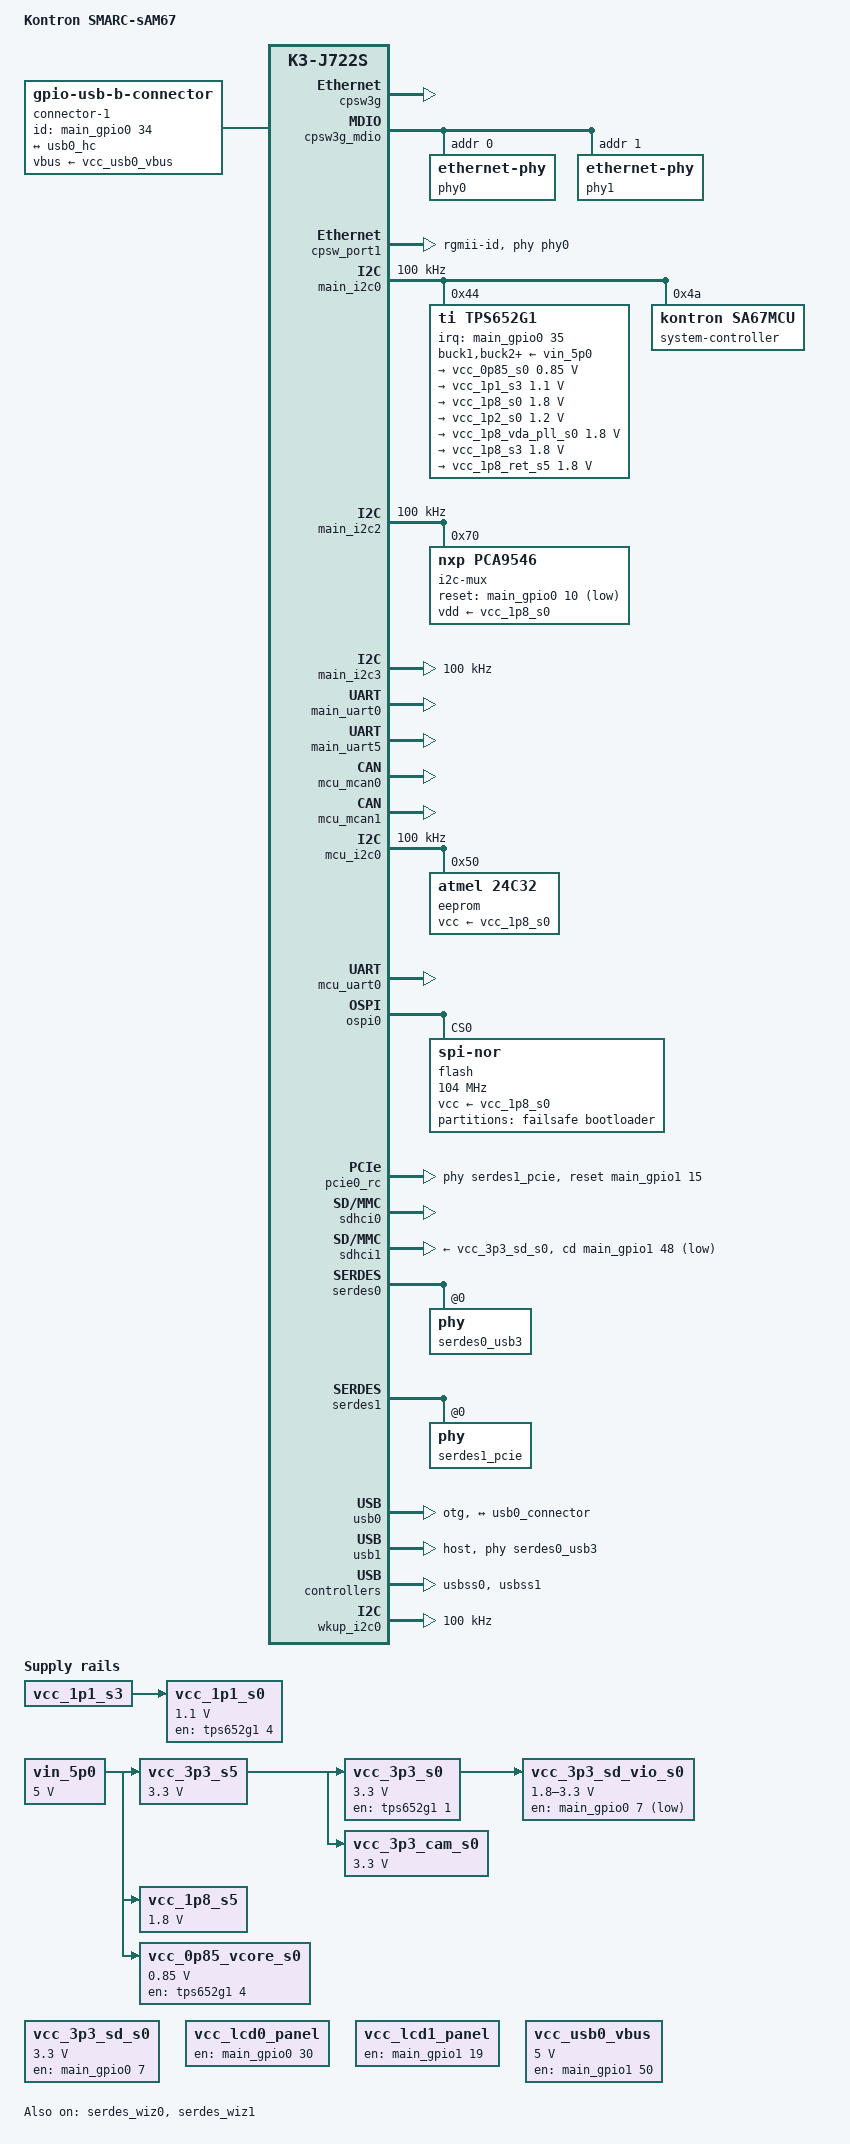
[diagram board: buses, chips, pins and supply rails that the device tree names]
// SPDX-License-Identifier: GPL-2.0-only OR MIT
/*
 * Kontron SMARC-sAM67 module
 *
 * Copyright (c) 2025 Kontron Europe GmbH
 */

/dts-v1/;

#include <dt-bindings/gpio/gpio.h>
#include <dt-bindings/interrupt-controller/irq.h>
#include <dt-bindings/phy/phy.h>
#include "k3-j722s.dtsi"
#include "k3-serdes.h"

/ {
	compatible = "kontron,sa67", "ti,j722s";
	model = "Kontron SMARC-sAM67";

	aliases {
		serial0 = &mcu_uart0;
		serial1 = &main_uart0;
		serial2 = &main_uart5;
		serial3 = &wkup_uart0;
		mmc0 = &sdhci0;
		mmc1 = &sdhci1;
		rtc0 = &wkup_rtc0;
	};

	lcd0_backlight: backlight-1 {
		compatible = "pwm-backlight";
		pinctrl-names = "default";
		pinctrl-0 = <&lcd0_backlight_pins_default>;
		pwms = <&epwm1 0 50000 0>;
		brightness-levels = <0 32 64 96 128 160 192 224 255>;
		default-brightness-level = <8>;
		enable-gpios = <&main_gpio0 29 GPIO_ACTIVE_HIGH>;
		status = "disabled";
	};

	lcd1_backlight: backlight-2 {
		compatible = "pwm-backlight";
		pinctrl-names = "default";
		pinctrl-0 = <&lcd1_backlight_pins_default>;
		pwms = <&epwm1 1 50000 0>;
		brightness-levels = <0 32 64 96 128 160 192 224 255>;
		default-brightness-level = <8>;
		enable-gpios = <&main_gpio1 18 GPIO_ACTIVE_HIGH>;
		status = "disabled";
	};

	chosen {
		stdout-path = "serial1:115200n8";
	};

	connector-1 {
		compatible = "gpio-usb-b-connector", "usb-b-connector";
		pinctrl-names = "default";
		pinctrl-0 = <&usb0_connector_pins_default>;
		type = "micro";
		id-gpios = <&main_gpio0 34 GPIO_ACTIVE_HIGH>;
		vbus-supply = <&vcc_usb0_vbus>;

		port  {
			usb0_connector: endpoint {
				remote-endpoint = <&usb0_hc>;
			};
		};

	};

	memory@80000000 {
		/* Filled in by bootloader */
		reg = <0x00000000 0x00000000 0x00000000 0x00000000>,
		      <0x00000000 0x00000000 0x00000000 0x00000000>;
		device_type = "memory";
		bootph-pre-ram;
	};

	reserved_memory: reserved-memory {
		#address-cells = <2>;
		#size-cells = <2>;
		ranges;

		linux,cma {
			compatible = "shared-dma-pool";
			reusable;
			size = <0x10000000>;
			alignment = <0x2000>;
			linux,cma-default;
		};

		secure_tfa_ddr: tfa@9e780000 {
			reg = <0x00 0x9e780000 0x00 0x80000>;
			no-map;
		};

		secure_ddr: optee@9e800000 {
			reg = <0x00 0x9e800000 0x00 0x01800000>;
			no-map;
		};

		wkup_r5fss0_core0_memory_region: r5f-memory@a0100000 {
			compatible = "shared-dma-pool";
			reg = <0x00 0xa0100000 0x00 0xf00000>;
			no-map;
		};
	};

	vin_5p0: regulator-1 {
		compatible = "regulator-fixed";
		regulator-name = "V_3V0_5V25_IN";
		regulator-min-microvolt = <5000000>;
		regulator-max-microvolt = <5000000>;
		regulator-always-on;
		regulator-boot-on;
		bootph-all;
	};

	vcc_3p3_s5: regulator-2 {
		compatible = "regulator-fixed";
		regulator-name = "V_3V3_S5";
		regulator-min-microvolt = <3300000>;
		regulator-max-microvolt = <3300000>;
		vin-supply = <&vin_5p0>;
		regulator-always-on;
		regulator-boot-on;
		bootph-all;
	};

	vcc_1p8_s5: regulator-3 {
		compatible = "regulator-fixed";
		regulator-name = "V_1V8_S5";
		regulator-min-microvolt = <1800000>;
		regulator-max-microvolt = <1800000>;
		vin-supply = <&vin_5p0>;
		regulator-always-on;
		regulator-boot-on;
		bootph-all;
	};

	vcc_3p3_s0: regulator-4 {
		compatible = "regulator-fixed";
		regulator-name = "V_3V3_S0";
		regulator-min-microvolt = <3300000>;
		regulator-max-microvolt = <3300000>;
		vin-supply = <&vcc_3p3_s5>;
		regulator-always-on;
		regulator-boot-on;
		enable-active-high;
		gpios = <&tps652g1 1 GPIO_ACTIVE_HIGH>;
		bootph-all;
	};

	vcc_3p3_sd_s0: regulator-5 {
		compatible = "regulator-fixed";
		regulator-name = "SDIO_PWR_EN";
		pinctrl-names = "default";
		pinctrl-0 = <&vcc_3p3_sd_s0_pins_default>;
		regulator-min-microvolt = <3300000>;
		regulator-max-microvolt = <3300000>;
		regulator-boot-on;
		enable-active-high;
		gpios = <&main_gpio0 7 GPIO_ACTIVE_HIGH>;
		bootph-all;
	};

	vcc_3p3_sd_vio_s0: regulator-6 {
		compatible = "regulator-gpio";
		regulator-name = "V_3V3_1V8_SD_S0";
		pinctrl-names = "default";
		pinctrl-0 = <&vcc_3p3_sd_vio_s0_pins_default>;
		regulator-min-microvolt = <1800000>;
		regulator-max-microvolt = <3300000>;
		vin-supply = <&vcc_3p3_s0>;
		regulator-boot-on;
		enable-gpios = <&main_gpio0 7 GPIO_ACTIVE_HIGH>;
		gpios = <&main_gpio0 8 GPIO_ACTIVE_HIGH>;
		states = <3300000 0x0>,
			 <1800000 0x1>;
		bootph-all;
	};

	vcc_3p3_cam_s0: regulator-7 {
		compatible = "regulator-fixed";
		regulator-name = "V_3V3_CAM_S0";
		pinctrl-names = "default";
		pinctrl-0 = <&vcc_3p3_cam_s0_pins_default>;
		regulator-min-microvolt = <3300000>;
		regulator-max-microvolt = <3300000>;
		vin-supply = <&vcc_3p3_s5>;
		enable-active-high;
		interrupts-extended = <&main_gpio1 30 IRQ_TYPE_EDGE_FALLING>;
		bootph-all;
	};

	vcc_1p1_s0: regulator-8 {
		compatible = "regulator-fixed";
		regulator-name = "V_1V1_S0";
		regulator-min-microvolt = <1100000>;
		regulator-max-microvolt = <1100000>;
		vin-supply = <&vcc_1p1_s3>;
		regulator-always-on;
		regulator-boot-on;
		enable-active-high;
		/* shared with V_0V75_0V85_CORE_S0 */
		gpios = <&tps652g1 4 GPIO_ACTIVE_HIGH>;
		bootph-all;
	};

	vcc_0p85_vcore_s0: regulator-9 {
		compatible = "regulator-fixed";
		regulator-name = "V_0V75_0V85_CORE_S0";
		regulator-min-microvolt = <850000>;
		regulator-max-microvolt = <850000>;
		vin-supply = <&vin_5p0>;
		regulator-always-on;
		regulator-boot-on;
		enable-active-high;
		gpios = <&tps652g1 4 GPIO_ACTIVE_HIGH>;
		bootph-all;
	};

	vcc_lcd0_panel: regulator-10 {
		compatible = "regulator-fixed";
		regulator-name = "LCD0_VDD_EN";
		pinctrl-names = "default";
		pinctrl-0 = <&vcc_lcd0_panel_pins_default>;
		enable-active-high;
		gpios = <&main_gpio0 30 GPIO_ACTIVE_HIGH>;
	};

	vcc_lcd1_panel: regulator-11 {
		compatible = "regulator-fixed";
		regulator-name = "LCD1_VDD_EN";
		pinctrl-names = "default";
		pinctrl-0 = <&vcc_lcd1_panel_pins_default>;
		enable-active-high;
		gpios = <&main_gpio1 19 GPIO_ACTIVE_HIGH>;
	};

	vcc_usb0_vbus: regulator-12 {
		compatible = "regulator-fixed";
		regulator-name = "USB0_EN_OC#";
		pinctrl-names = "default";
		pinctrl-0 = <&vcc_usb0_vbus_pins_default>;
		regulator-min-microvolt = <5000000>;
		regulator-max-microvolt = <5000000>;
		enable-active-high;
		gpios = <&main_gpio1 50 GPIO_ACTIVE_HIGH>;
	};
};

&audio_refclk0 {
	pinctrl-names = "default";
	pinctrl-0 = <&audio_refclk0_pins_default>;
	status = "disabled";
};

&audio_refclk1 {
	pinctrl-names = "default";
	pinctrl-0 = <&audio_refclk1_pins_default>;
	status = "disabled";
};

&cpsw3g {
	pinctrl-names = "default";
	pinctrl-0 = <&cpsw3g_pins_default>, <&rgmii1_pins_default>,
		    <&rgmii2_pins_default>;
	status = "okay";
};

&cpsw3g_mdio {
	pinctrl-names = "default";
	pinctrl-0 = <&cpsw3g_mdio_pins_default>;
	status = "okay";

	phy0: ethernet-phy@0 {
		reg = <0>;
	};

	phy1: ethernet-phy@1 {
		reg = <1>;
	};
};

&cpsw_port1 {
	phy-connection-type = "rgmii-id";
	phy-handle = <&phy0>;
	nvmem-cells = <&base_mac_address 0>;
	nvmem-cell-names = "mac-address";
	status = "okay";
};

&main_gpio0 {
	gpio-line-names =
		"", "", "", "", "", "", "", "SOC_SDIO_PWR_EN", "VSD_SEL",
		"RESET_OUT#", "I2C_MUX_RST#", "SPI_FLASH_CS#", "QPSI_CS0#",
		"QSPI_CS1#", "BOOT_SEL1", "BRDCFG0", "BRDCFG1", "BRDCFG2",
		"BRDCFG3", "BRDCFG4", "", "BRDREV0", "BRDREV1", "", "", "", "",
		"", "", "LCD0_BKLT_EN", "LCD0_VDD_EN", "GBE_INT#", "DSI0_TE",
		"CHARGING#", "USB0_OTG_ID", "PMIC_INT#", "RTC_INT#",
		"EDP_BRIDGE_EN", "EDP_BRIDGE_IRQ#", "", "CHARGER_PRSNT#", "",
		"", "", "", "BOOT_SEL2#", "CAM2_RST#", "CAM2_PWR#", "",
		"CAM3_RST#", "CAM3_PWR#", "GPIO0", "GPIO1", "", "", "", "", "",
		"", "", "", "", "", "", "", "", "", "", "", "GPIO10", "GPIO11",
		"SLEEP#", "LID#";

	bootph-all;
	status = "okay";
};

&main_gpio1 {
	gpio-line-names =
		"", "", "", "", "", "", "", "GPIO6", "GPIO7", "", "", "", "",
		"GPIO8", "GPIO9", "PCIE_A_RST#", "", "BATLOW#", "LCD1_BKLT_EN",
		"LCD1_VDD_EN", "", "", "", "", "GPIO2", "GPIO3", "", "",
		"GPIO4", "GPIO5", "CAM_S0_FAULT#", "BOOT_SEL0#", "", "", "", "",
		"", "", "", "", "", "", "", "", "", "", "", "", "SDIO_CD#", "",
		"USB0_DRVVBUS", "USB1_DRVVBUS";

	bootph-all;
	status = "okay";
};

/* I2C_LOCAL */
&main_i2c0 {
	pinctrl-names = "default";
	pinctrl-0 = <&main_i2c0_pins_default>;
	clock-frequency = <100000>;
	bootph-all;
	status = "okay";

	tps652g1: pmic@44 {
		compatible = "ti,tps652g1";
		reg = <0x44>;
		ti,primary-pmic;
		system-power-controller;

		gpio-controller;
		#gpio-cells = <2>;
		gpio-line-names =
			"LPM_EN#", "EN_3V3_S0", "POWER_BTN#", "CARRIER_STBY#",
			"EN_0V75_0V85_VCORE_S0", "PMIC_WAKEUP";

		pinctrl-names = "default";
		pinctrl-0 = <&pmic_irq_pins_default>;
		interrupts-extended = <&main_gpio0 35 IRQ_TYPE_EDGE_FALLING>;

		buck1-supply = <&vin_5p0>;
		buck2-supply = <&vin_5p0>;
		buck3-supply = <&vin_5p0>;
		buck4-supply = <&vin_5p0>;
		ldo1-supply = <&vin_5p0>;
		ldo2-supply = <&vin_5p0>;
		ldo3-supply = <&vin_5p0>;

		bootph-all;

		regulators {
			vcc_0p85_s0: buck1 {
				regulator-name = "V_0V85_S0";
				regulator-min-microvolt = <850000>;
				regulator-max-microvolt = <850000>;
				regulator-boot-on;
				regulator-always-on;
			};

			vcc_1p1_s3: buck2 {
				regulator-name = "V_1V1_S3";
				regulator-min-microvolt = <1100000>;
				regulator-max-microvolt = <1100000>;
				regulator-boot-on;
				regulator-always-on;
			};

			vcc_1p8_s0: buck3 {
				regulator-name = "V_1V8_S0";
				regulator-min-microvolt = <1800000>;
				regulator-max-microvolt = <1800000>;
				regulator-boot-on;
				regulator-always-on;
			};

			vcc_1p2_s0: buck4 {
				regulator-name = "V_1V2_S0";
				regulator-min-microvolt = <1200000>;
				regulator-max-microvolt = <1200000>;
				regulator-boot-on;
				regulator-always-on;
			};

			vcc_1p8_vda_pll_s0: ldo1 {
				regulator-name = "V_1V8_VDA_PLL_S0";
				regulator-min-microvolt = <1800000>;
				regulator-max-microvolt = <1800000>;
				regulator-boot-on;
				regulator-always-on;
			};

			vcc_1p8_s3: ldo2 {
				regulator-name = "V_1V8_S3";
				regulator-min-microvolt = <1800000>;
				regulator-max-microvolt = <1800000>;
				regulator-boot-on;
				regulator-always-on;
			};

			vcc_1p8_ret_s5: ldo3 {
				regulator-name = "V_1V8_RET_S5";
				regulator-min-microvolt = <1800000>;
				regulator-max-microvolt = <1800000>;
				regulator-boot-on;
				regulator-always-on;
			};
		};
	};

	system-controller@4a {
		compatible = "kontron,sa67mcu", "kontron,sl28cpld";
		reg = <0x4a>;
		#address-cells = <1>;
		#size-cells = <0>;

		watchdog@4 {
			compatible = "kontron,sa67mcu-wdt", "kontron,sl28cpld-wdt";
			reg = <0x4>;
			kontron,assert-wdt-timeout-pin;
		};

		hwmon@8 {
			compatible = "kontron,sa67mcu-hwmon";
			reg = <0x8>;
		};
	};
};

/* I2C_CAM */
&main_i2c2 {
	pinctrl-names = "default";
	pinctrl-0 = <&main_i2c2_pins_default>;
	clock-frequency = <100000>;
	status = "okay";

	i2c-mux@70 {
		compatible = "nxp,pca9546";
		reg = <0x70>;
		#address-cells = <1>;
		#size-cells = <0>;

		pinctrl-names = "default";
		pinctrl-0 = <&i2c_mux_pins_default>;

		vdd-supply = <&vcc_1p8_s0>;
		reset-gpios = <&main_gpio0 10 GPIO_ACTIVE_LOW>;

		i2c_cam0: i2c@0 {
			#address-cells = <1>;
			#size-cells = <0>;
			reg = <0>;
		};

		i2c_cam1: i2c@1 {
			#address-cells = <1>;
			#size-cells = <0>;
			reg = <1>;
		};

		i2c_cam2: i2c@2 {
			#address-cells = <1>;
			#size-cells = <0>;
			reg = <2>;
		};

		i2c_cam3: i2c@3 {
			#address-cells = <1>;
			#size-cells = <0>;
			reg = <3>;
		};
	};
};

/* I2C_LCD */
&main_i2c3 {
	pinctrl-names = "default";
	pinctrl-0 = <&main_i2c3_pins_default>;
	clock-frequency = <100000>;
	status = "okay";
};

&main_pmx0 {
	audio_refclk0_pins_default: audio-refclk0-default-pins {
		pinctrl-single,pins = <
			J722S_IOPAD(0x0c4, PIN_OUTPUT, 5)	/* (W23) VOUT0_DATA3.AUDIO_EXT_REFCLK0 */
		>;
	};

	audio_refclk1_pins_default: audio-refclk1-default-pins {
		pinctrl-single,pins = <
			J722S_IOPAD(0x0a0, PIN_OUTPUT, 1)	/* (N24) GPMC0_WPn.AUDIO_EXT_REFCLK1 */
		>;
	};

	cpsw3g_mdio_pins_default: cpsw3g-mdio-default-pins {
		pinctrl-single,pins = <
			J722S_IOPAD(0x160, PIN_OUTPUT, 0)	/* (AC24) MDIO0_MDC */
			J722S_IOPAD(0x15c, PIN_INPUT, 0)	/* (AD25) MDIO0_MDIO */
		>;
	};

	cpsw3g_pins_default: cpsw3g-default-pins {
		pinctrl-single,pins = <
			J722S_IOPAD(0x1b8, PIN_OUTPUT, 1)	/* (C20) SPI0_CS1.CP_GEMAC_CPTS0_TS_COMP */
		>;
	};

	edp_bridge_pins_default: edp-bridge-default-pins {
		pinctrl-single,pins = <
			J722S_IOPAD(0x098, PIN_OUTPUT, 7)	/* (V21) GPMC0_WAIT0.GPIO0_37 */
			J722S_IOPAD(0x09c, PIN_INPUT, 7)	/* (W26) GPMC0_WAIT1.GPIO0_38 */
		>;
	};

	i2c_mux_pins_default: i2c-mux-default-pins {
		pinctrl-single,pins = <
			J722S_IOPAD(0x028, PIN_OUTPUT, 7)	/* (M27) OSPI0_D7.GPIO0_10 */
		>;
	};

	lcd0_backlight_pins_default: lcd0-backlight-default-pins {
		pinctrl-single,pins = <
			J722S_IOPAD(0x074, PIN_OUTPUT, 7)	/* (V22) GPMC0_AD14.GPIO0_29 */
			J722S_IOPAD(0x110, PIN_OUTPUT, 4)	/* (G27) MMC2_DAT1.EHRPWM1_A */
		>;
	};

	lcd1_backlight_pins_default: lcd1-backlight-default-pins {
		pinctrl-single,pins = <
			J722S_IOPAD(0x1c0, PIN_OUTPUT, 7)	/* (E19) SPI0_D0.GPIO1_18 */
			J722S_IOPAD(0x114, PIN_OUTPUT, 4)	/* (G26) MMC2_DAT0.EHRPWM1_B */
		>;
	};

	main_i2c0_pins_default: main-i2c0-default-pins {
		pinctrl-single,pins = <
			J722S_IOPAD(0x1e0, PIN_INPUT, 0)	/* (D23) I2C0_SCL */
			J722S_IOPAD(0x1e4, PIN_INPUT, 0)	/* (B22) I2C0_SDA */
		>;
		bootph-all;
	};

	main_i2c2_pins_default: main-i2c2-default-pins {
		pinctrl-single,pins = <
			J722S_IOPAD(0x0b0, PIN_INPUT, 1)	/* (P22) GPMC0_CSn2.I2C2_SCL */
			J722S_IOPAD(0x0b4, PIN_INPUT, 1)	/* (P23) GPMC0_CSn3.I2C2_SDA */
		>;
	};

	main_i2c3_pins_default: main-i2c3-default-pins {
		pinctrl-single,pins = <
			J722S_IOPAD(0x1d0, PIN_INPUT, 2)	/* (E22) UART0_CTSn.I2C3_SCL */
			J722S_IOPAD(0x1d4, PIN_INPUT, 2)	/* (B21) UART0_RTSn.I2C3_SDA */
		>;
	};

	main_i2c4_pins_default: main-i2c4-default-pins {
		pinctrl-single,pins = <
			J722S_IOPAD(0x0a8, PIN_INPUT, 1)	/* (R27) GPMC0_CSn0.I2C4_SCL */
			J722S_IOPAD(0x0ac, PIN_INPUT, 1)	/* (P21) GPMC0_CSn1.I2C4_SDA */
		>;
	};

	main_uart0_pins_default: main-uart0-default-pins {
		pinctrl-single,pins = <
			J722S_IOPAD(0x1c8, PIN_INPUT, 0)	/* (F19) UART0_RXD */
			J722S_IOPAD(0x1cc, PIN_OUTPUT, 0)	/* (F20) UART0_TXD */
		>;
		bootph-all;
	};

	main_uart5_pins_default: main-uart5-default-pins {
		pinctrl-single,pins = <
			J722S_IOPAD(0x108, PIN_INPUT, 3)	/* (J27) MMC2_DAT3.UART5_RXD */
			J722S_IOPAD(0x10c, PIN_OUTPUT, 3)	/* (H27) MMC2_DAT2.UART5_TXD */
			J722S_IOPAD(0x008, PIN_INPUT, 5)	/* (L22) OSPI0_DQS.UART5_CTSn */
			J722S_IOPAD(0x004, PIN_OUTPUT, 5)	/* (L23) OSPI0_LBCLKO.UART5_RTSn */
		>;
	};

	mcasp0_pins_default: mcasp0-default-pins {
		pinctrl-single,pins = <
			J722S_IOPAD(0x1a4, PIN_INPUT, 0)	/* (D25) MCASP0_ACLKX */
			J722S_IOPAD(0x1a8, PIN_INPUT, 0)	/* (C26) MCASP0_AFSX */
			J722S_IOPAD(0x1a0, PIN_INPUT, 0)	/* (F23) MCASP0_AXR0 */
			J722S_IOPAD(0x19c, PIN_OUTPUT, 0)	/* (B25) MCASP0_AXR1 */
		>;
	};

	mcasp2_pins_default: mcasp2-default-pins {
		pinctrl-single,pins = <
			J722S_IOPAD(0x070, PIN_INPUT, 3)	/* (V24) GPMC0_AD13.MCASP2_ACLKX */
			J722S_IOPAD(0x06c, PIN_INPUT, 3)	/* (V26) GPMC0_AD12.MCASP2_AFSX */
			J722S_IOPAD(0x05c, PIN_INPUT, 3)	/* (U27) GPMC0_AD8.MCASP2_AXR0 */
			J722S_IOPAD(0x060, PIN_OUTPUT, 3)	/* (U26) GPMC0_AD9.MCASP2_AXR1 */
		>;
	};

	oldi0_pins_default: oldi0-default-pins {
		pinctrl-single,pins = <
			J722S_IOPAD(0x260, PIN_OUTPUT, 0)	/* (AF23) OLDI0_A0N */
			J722S_IOPAD(0x25c, PIN_OUTPUT, 0)	/* (AG24) OLDI0_A0P */
			J722S_IOPAD(0x268, PIN_OUTPUT, 0)	/* (AG22) OLDI0_A1N */
			J722S_IOPAD(0x264, PIN_OUTPUT, 0)	/* (AG23) OLDI0_A1P */
			J722S_IOPAD(0x270, PIN_OUTPUT, 0)	/* (AB20) OLDI0_A2N */
			J722S_IOPAD(0x26c, PIN_OUTPUT, 0)	/* (AB21) OLDI0_A2P */
			J722S_IOPAD(0x278, PIN_OUTPUT, 0)	/* (AG20) OLDI0_A3N */
			J722S_IOPAD(0x274, PIN_OUTPUT, 0)	/* (AG21) OLDI0_A3P */
			J722S_IOPAD(0x2a0, PIN_OUTPUT, 0)	/* (AF21) OLDI0_CLK0N */
			J722S_IOPAD(0x29c, PIN_OUTPUT, 0)	/* (AE20) OLDI0_CLK0P */
		>;
	};

	oldi1_pins_default: oldi1-default-pins {
		pinctrl-single,pins = <
			J722S_IOPAD(0x280, PIN_OUTPUT, 0)	/* (AD21) OLDI0_A4N */
			J722S_IOPAD(0x27c, PIN_OUTPUT, 0)	/* (AC21) OLDI0_A4P */
			J722S_IOPAD(0x288, PIN_OUTPUT, 0)	/* (AF19) OLDI0_A5N */
			J722S_IOPAD(0x284, PIN_OUTPUT, 0)	/* (AF18) OLDI0_A5P */
			J722S_IOPAD(0x290, PIN_OUTPUT, 0)	/* (AG17) OLDI0_A6N */
			J722S_IOPAD(0x28c, PIN_OUTPUT, 0)	/* (AG18) OLDI0_A6P */
			J722S_IOPAD(0x298, PIN_OUTPUT, 0)	/* (AB19) OLDI0_A7N */
			J722S_IOPAD(0x294, PIN_OUTPUT, 0)	/* (AA20) OLDI0_A7P */
			J722S_IOPAD(0x2a8, PIN_OUTPUT, 0)	/* (AD20) OLDI0_CLK1N */
			J722S_IOPAD(0x2a4, PIN_OUTPUT, 0)	/* (AE19) OLDI0_CLK1P */
		>;
	};

	ospi0_pins_default: ospi0-default-pins {
		pinctrl-single,pins = <
			J722S_IOPAD(0x000, PIN_OUTPUT, 0)	/* (L24) OSPI0_CLK */
			J722S_IOPAD(0x02c, PIN_OUTPUT, 0)	/* (K26) OSPI0_CSn0 */
			J722S_IOPAD(0x030, PIN_OUTPUT, 0)	/* (K23) OSPI0_CSn1 */
			J722S_IOPAD(0x034, PIN_OUTPUT, 0)	/* (K22) OSPI0_CSn2 */
			J722S_IOPAD(0x00c, PIN_INPUT, 0)	/* (K27) OSPI0_D0 */
			J722S_IOPAD(0x010, PIN_INPUT, 0)	/* (L27) OSPI0_D1 */
			J722S_IOPAD(0x014, PIN_INPUT, 0)	/* (L26) OSPI0_D2 */
			J722S_IOPAD(0x018, PIN_INPUT, 0)	/* (L25) OSPI0_D3 */
		>;
		bootph-all;
	};

	pcie0_rc_pins_default: pcie0-rc-default-pins {
		pinctrl-single,pins = <
			J722S_IOPAD(0x2ac, PIN_OUTPUT, 0)	/* (F25) PCIE0_CLKREQn */
			J722S_IOPAD(0x1b4, PIN_OUTPUT, 7)	/* (B20) SPI0_CS0.GPIO1_15 */
		>;
	};

	pmic_irq_pins_default: pmic-irq-default-pins {
		pinctrl-single,pins = <
			J722S_IOPAD(0x090, PIN_INPUT, 7)	/* (P27) GPMC0_BE0n_CLE.GPIO0_35 */
		>;
	};

	rgmii1_pins_default: rgmii1-default-pins {
		pinctrl-single,pins = <
			J722S_IOPAD(0x14c, PIN_INPUT, 0)	/* (AC25) RGMII1_RD0 */
			J722S_IOPAD(0x150, PIN_INPUT, 0)	/* (AD27) RGMII1_RD1 */
			J722S_IOPAD(0x154, PIN_INPUT, 0)	/* (AE24) RGMII1_RD2 */
			J722S_IOPAD(0x158, PIN_INPUT, 0)	/* (AE26) RGMII1_RD3 */
			J722S_IOPAD(0x148, PIN_INPUT, 0)	/* (AE27) RGMII1_RXC */
			J722S_IOPAD(0x144, PIN_INPUT, 0)	/* (AD23) RGMII1_RX_CTL */
			J722S_IOPAD(0x134, PIN_OUTPUT, 0)	/* (AF27) RGMII1_TD0 */
			J722S_IOPAD(0x138, PIN_OUTPUT, 0)	/* (AE23) RGMII1_TD1 */
			J722S_IOPAD(0x13c, PIN_OUTPUT, 0)	/* (AG25) RGMII1_TD2 */
			J722S_IOPAD(0x140, PIN_OUTPUT, 0)	/* (AF24) RGMII1_TD3 */
			J722S_IOPAD(0x130, PIN_OUTPUT, 0)	/* (AG26) RGMII1_TXC */
			J722S_IOPAD(0x12c, PIN_OUTPUT, 0)	/* (AF25) RGMII1_TX_CTL */
		>;
	};

	rgmii2_pins_default: rgmii2-default-pins {
		pinctrl-single,pins = <
			J722S_IOPAD(0x0f8, PIN_INPUT, 2)	/* (AB24) VOUT0_HSYNC.RGMII2_RD0 */
			J722S_IOPAD(0x0fc, PIN_INPUT, 2)	/* (AC27) VOUT0_DE.RGMII2_RD1 */
			J722S_IOPAD(0x100, PIN_INPUT, 2)	/* (AB23) VOUT0_VSYNC.RGMII2_RD2 */
			J722S_IOPAD(0x104, PIN_INPUT, 2)	/* (AC26) VOUT0_PCLK.RGMII2_RD3 */
			J722S_IOPAD(0x0f4, PIN_INPUT, 2)	/* (AB27) VOUT0_DATA15.RGMII2_RXC */
			J722S_IOPAD(0x0f0, PIN_INPUT, 2)	/* (AB26) VOUT0_DATA14.RGMII2_RX_CTL */
			J722S_IOPAD(0x0e0, PIN_OUTPUT, 2)	/* (AA25) VOUT0_DATA10.RGMII2_TD0 */
			J722S_IOPAD(0x0e4, PIN_OUTPUT, 2)	/* (AB25) VOUT0_DATA11.RGMII2_TD1 */
			J722S_IOPAD(0x0e8, PIN_OUTPUT, 2)	/* (AA23) VOUT0_DATA12.RGMII2_TD2 */
			J722S_IOPAD(0x0ec, PIN_OUTPUT, 2)	/* (AA22) VOUT0_DATA13.RGMII2_TD3 */
			J722S_IOPAD(0x0dc, PIN_OUTPUT, 2)	/* (AA27) VOUT0_DATA9.RGMII2_TXC */
			J722S_IOPAD(0x0d8, PIN_OUTPUT, 2)	/* (AA24) VOUT0_DATA8.RGMII2_TX_CTL */
		>;
	};

	rtc_pins_default: rtc-default-pins {
		pinctrl-single,pins = <
			J722S_IOPAD(0x094, PIN_INPUT, 7)	/* (P26) GPMC0_BE1n.GPIO0_36 */
		>;
	};

	sdhci1_pins_default: sdhci1-default-pins {
		pinctrl-single,pins = <
			J722S_IOPAD(0x23c, PIN_INPUT, 0)	/* (H22) MMC1_CMD */
			J722S_IOPAD(0x234, PIN_OUTPUT, 0)	/* (H24) MMC1_CLK */
			J722S_IOPAD(0x230, PIN_INPUT, 0)	/* (H23) MMC1_DAT0 */
			J722S_IOPAD(0x22c, PIN_INPUT, 0)	/* (H20) MMC1_DAT1 */
			J722S_IOPAD(0x228, PIN_INPUT, 0)	/* (J23) MMC1_DAT2 */
			J722S_IOPAD(0x224, PIN_INPUT, 0)	/* (H25) MMC1_DAT3 */
			J722S_IOPAD(0x240, PIN_INPUT, 0)	/* (B24) MMC1_SDCD */
			J722S_IOPAD(0x244, PIN_INPUT, 0)	/* (A24) MMC1_SDWP */
		>;
		bootph-all;
	};

	usb0_connector_pins_default: usb0-connector-default-pins {
		pinctrl-single,pins = <
			J722S_IOPAD(0x08c, PIN_INPUT_PULLUP, 7)	/* (N23) GPMC0_WEn.GPIO0_34 */
		>;
	};

	usb1_pins_default: usb1-default-pins {
		pinctrl-single,pins = <
			J722S_IOPAD(0x258, PIN_OUTPUT, 0)	/* (B27) USB1_DRVVBUS */
		>;
	};

	vcc_3p3_sd_s0_pins_default: vcc-3p3-sd-s0-default-pins {
		pinctrl-single,pins = <
			J722S_IOPAD(0x01c, PIN_OUTPUT, 7)	/* (L21) OSPI0_D4.GPIO0_7 */
		>;
		bootph-all;
	};

	vcc_3p3_sd_vio_s0_pins_default: vcc-3p3-sd-vio-s0-default-pins {
		pinctrl-single,pins = <
			J722S_IOPAD(0x020, PIN_OUTPUT, 7)	/* (M26) OSPI0_D5.GPIO0_8 */
		>;
		bootph-all;
	};

	vcc_3p3_cam_s0_pins_default: vcc-3p3-cam-s0-default-pins {
		pinctrl-single,pins = <
			J722S_IOPAD(0x1f0, PIN_OUTPUT, 7)	/* (A23) EXT_REFCLK1.GPIO1_30 */
		>;
	};

	vcc_lcd0_panel_pins_default: vcc-lcd0-panel-default-pins {
		pinctrl-single,pins = <
			J722S_IOPAD(0x078, PIN_OUTPUT, 7)	/* (V23) GPMC0_AD15.GPIO0_30 */
		>;
	};

	vcc_lcd1_panel_pins_default: vcc-lcd1-panel-default-pins {
		pinctrl-single,pins = <
			J722S_IOPAD(0x1c4, PIN_OUTPUT, 7)	/* (E20) SPI0_D1.GPIO1_19 */
		>;
	};

	vcc_usb0_vbus_pins_default: vcc-usb0-vbus-default-pins {
		pinctrl-single,pins = <
			J722S_IOPAD(0x254, PIN_OUTPUT, 7)	/* (E25) USB0_DRVVBUS.GPIO1_50 */
		>;
	};
};

/* SER1 */
&main_uart0 {
	pinctrl-names = "default";
	pinctrl-0 = <&main_uart0_pins_default>;
	bootph-all;
	status = "okay";
};

/* SER2 */
&main_uart5 {
	pinctrl-names = "default";
	pinctrl-0 = <&main_uart5_pins_default>;
	bootph-all;
	status = "okay";
};

/* I2S0 */
&mcasp0 {
	#sound-dai-cells = <0>;
	pinctrl-names = "default";
	pinctrl-0 = <&mcasp0_pins_default>;
	op-mode = <0>; /* I2S */
	tdm-slots = <2>;
	serial-dir = <2 1 0 0 0 0 0 0 0 0 0 0 0 0 0 0>;
};

/* I2S2 */
&mcasp2 {
	#sound-dai-cells = <0>;
	pinctrl-names = "default";
	pinctrl-0 = <&mcasp2_pins_default>;
	op-mode = <0>; /* I2S */
	tdm-slots = <2>;
	serial-dir = <2 1 0 0 0 0 0 0 0 0 0 0 0 0 0 0>;
};

/* CAN0 */
&mcu_mcan0 {
	pinctrl-names = "default";
	pinctrl-0 = <&mcu_mcan0_pins_default>;
	status = "okay";
};

/* CAN1 */
&mcu_mcan1 {
	pinctrl-names = "default";
	pinctrl-0 = <&mcu_mcan1_pins_default>;
	status = "okay";
};

&mcu_gpio0 {
	gpio-line-names =
		"", "", "", "", "", "", "", "", "", "", "", /* 10 */ "GPIO12",
		"MCU_INT#", "", "", "", "", "", "", "", "", "", "", "GPIO13";
};

/* I2C_GP */
&mcu_i2c0 {
	pinctrl-names = "default";
	pinctrl-0 = <&mcu_i2c0_pins_default>;
	clock-frequency = <100000>;
	status = "okay";

	/* SMARC Module EEPROM */
	eeprom@50 {
		compatible = "atmel,24c32";
		reg = <0x50>;
		pagesize = <32>;
		vcc-supply = <&vcc_1p8_s0>;
	};
};

&mcu_pmx0 {
	mcu_i2c0_pins_default: mcu-i2c0-default-pins {
		pinctrl-single,pins = <
			J722S_MCU_IOPAD(0x044, PIN_INPUT, 0)	/* (B13) MCU_I2C0_SCL */
			J722S_MCU_IOPAD(0x048, PIN_INPUT, 0)	/* (E11) MCU_I2C0_SDA */
		>;
	};
	mcu_mcan0_pins_default: mcu-mcan0-default-pins {
		pinctrl-single,pins = <
			J722S_MCU_IOPAD(0x038, PIN_INPUT, 0)	/* (D8) MCU_MCAN0_RX */
			J722S_MCU_IOPAD(0x034, PIN_OUTPUT, 0)	/* (B2) MCU_MCAN0_TX */
		>;
	};

	mcu_mcan1_pins_default: mcu-mcan1-default-pins {
		pinctrl-single,pins = <
			J722S_MCU_IOPAD(0x040, PIN_INPUT, 0)	/* (B1) MCU_MCAN1_RX */
			J722S_MCU_IOPAD(0x03c, PIN_OUTPUT, 0)	/* (C1) MCU_MCAN1_TX */
		>;
	};

	mcu_uart0_pins_default: mcu-uart0-default-pins {
		pinctrl-single,pins = <
			J722S_MCU_IOPAD(0x014, PIN_INPUT, 0)	/* (B8) MCU_UART0_RXD */
			J722S_MCU_IOPAD(0x018, PIN_OUTPUT, 0)	/* (B4) MCU_UART0_TXD */
			J722S_MCU_IOPAD(0x01c, PIN_INPUT, 0)	/* (B5) MCU_UART0_CTSn */
			J722S_MCU_IOPAD(0x020, PIN_OUTPUT, 0)	/* (C5) MCU_UART0_RTSn */
		>;
		bootph-all;
	};

	mcu_spi0_pins_default: mcu-spi0-default-pins {
		pinctrl-single,pins = <
			J722S_MCU_IOPAD(0x008, PIN_OUTPUT, 0)	/* (A9) MCU_SPI0_CLK */
			J722S_MCU_IOPAD(0x000, PIN_OUTPUT, 0)	/* (C12) MCU_SPI0_CS0 */
			J722S_MCU_IOPAD(0x004, PIN_OUTPUT, 0)	/* (A10) MCU_SPI0_CS1 */
			J722S_MCU_IOPAD(0x00c, PIN_INPUT, 0)	/* (B12) MCU_SPI0_D0 */
			J722S_MCU_IOPAD(0x010, PIN_OUTPUT, 0)	/* (C11) MCU_SPI0_D1 */
		>;
	};

	wkup_uart0_pins_default: wkup-uart0-default-pins {
		pinctrl-single,pins = <
			J722S_MCU_IOPAD(0x024, PIN_INPUT, 0)	/* (B3) WKUP_UART0_RXD */
			J722S_MCU_IOPAD(0x028, PIN_OUTPUT, 0)	/* (C8) WKUP_UART0_TXD */
		>;
		bootph-all;
	};

	wkup_i2c0_pins_default: wkup-i2c0-default-pins {
		pinctrl-single,pins = <
			J722S_MCU_IOPAD(0x04c, PIN_INPUT, 0)	/* (B9) WKUP_I2C0_SCL */
			J722S_MCU_IOPAD(0x050, PIN_INPUT, 0)	/* (D11) WKUP_I2C0_SDA */
		>;
	};
};

/* SPI0 */
&mcu_spi0 {
	pinctrl-names = "default";
	pinctrl-0 = <&mcu_spi0_pins_default>;
};

/* SER0 */
&mcu_uart0 {
	pinctrl-names = "default";
	pinctrl-0 = <&mcu_uart0_pins_default>;
	bootph-all;
	status = "okay";
};

/* QSPI0 */
&ospi0 {
	pinctrl-0 = <&ospi0_pins_default>;
	pinctrl-names = "default";
	status = "okay";

	flash@0 {
		compatible = "jedec,spi-nor";
		reg = <0>;
		spi-max-frequency = <104000000>;
		spi-rx-bus-width = <2>;
		spi-tx-bus-width = <2>;
		m25p,fast-read;
		cdns,tshsl-ns = <60>;
		cdns,tsd2d-ns = <60>;
		cdns,tchsh-ns = <60>;
		cdns,tslch-ns = <60>;
		cdns,read-delay = <3>;
		vcc-supply = <&vcc_1p8_s0>;
		bootph-all;

		partitions {
			compatible = "fixed-partitions";
			#address-cells = <1>;
			#size-cells = <1>;

			partition@0 {
				reg = <0x000000 0x400000>;
				label = "failsafe bootloader";
				read-only;
			};
		};

		otp-1 {
			compatible = "user-otp";

			nvmem-layout {
				compatible = "kontron,sa67-vpd", "kontron,sl28-vpd";

				serial_number: serial-number {
				};

				base_mac_address: base-mac-address {
					#nvmem-cell-cells = <1>;
				};
			};
		};
	};
};

&pcie0_rc {
	pinctrl-names = "default";
	pinctrl-0 = <&pcie0_rc_pins_default>;

	/*
	 * This is low active, but the driver itself is broken and already
	 * inverts the logic.
	 */
	reset-gpios = <&main_gpio1 15 GPIO_ACTIVE_HIGH>;
	phys = <&serdes1_pcie>;
	phy-names = "pcie-phy";
	status = "okay";
};

&sdhci0 {
	disable-wp;
	bootph-all;
	ti,driver-strength-ohm = <50>;
	status = "okay";
};

/* SDIO */
&sdhci1 {
	pinctrl-names = "default";
	pinctrl-0 = <&sdhci1_pins_default>;
	vmmc-supply = <&vcc_3p3_sd_s0>;
	vqmmc-supply = <&vcc_3p3_sd_vio_s0>;
	bootph-all;
	cd-gpios = <&main_gpio1 48 GPIO_ACTIVE_LOW>;
	cd-debounce-delay-ms = <100>;
	ti,fails-without-test-cd;
	ti,driver-strength-ohm = <50>;
	status = "okay";
};

&serdes_ln_ctrl {
	idle-states = <J722S_SERDES0_LANE0_USB>,
		      <J722S_SERDES1_LANE0_PCIE0_LANE0>;
};

&serdes_wiz0 {
	status = "okay";
};

&serdes_wiz1 {
	status = "okay";
};

&serdes0 {
	serdes0_usb3: phy@0 {
		reg = <0>;
		#phy-cells = <0>;
		resets = <&serdes_wiz0 1>;
		cdns,num-lanes = <1>;
		cdns,phy-type = <PHY_TYPE_USB3>;
	};
};

&serdes1 {
	serdes1_pcie: phy@0 {
		reg = <0>;
		#phy-cells = <0>;
		resets = <&serdes_wiz1 1>;
		cdns,num-lanes = <1>;
		cdns,phy-type = <PHY_TYPE_PCIE>;
	};
};

&usb0 {
	/* dual role is implemented but not a full featured OTG */
	adp-disable;
	hnp-disable;
	srp-disable;
	dr_mode = "otg";
	usb-role-switch;
	role-switch-default-mode = "peripheral";
	status = "okay";

	port {
		usb0_hc: endpoint {
			remote-endpoint = <&usb0_connector>;
		};
	};
};

&usb0_phy_ctrl {
	/*
	 * Keep this node in the SPL to be able to use the USB controller to
	 * boot via DFU.
	 */
	bootph-all;
};

&usb1 {
	pinctrl-names = "default";
	pinctrl-0 = <&usb1_pins_default>;

	dr_mode = "host";
	maximum-speed = "super-speed";
	phys = <&serdes0_usb3>;
	phy-names = "cdns3,usb3-phy";
};

&usbss0 {
	ti,vbus-divider;
	status = "okay";
};

&usbss1 {
	ti,vbus-divider;
	status = "okay";
};

/* I2C_PM */
&wkup_i2c0 {
	pinctrl-names = "default";
	pinctrl-0 = <&wkup_i2c0_pins_default>;
	clock-frequency = <100000>;
	status = "okay";
};

/* SER3 */
&wkup_uart0 {
	/* WKUP UART0 is used by Device Manager firmware */
	pinctrl-names = "default";
	pinctrl-0 = <&wkup_uart0_pins_default>;
	bootph-all;
	status = "reserved";
};
